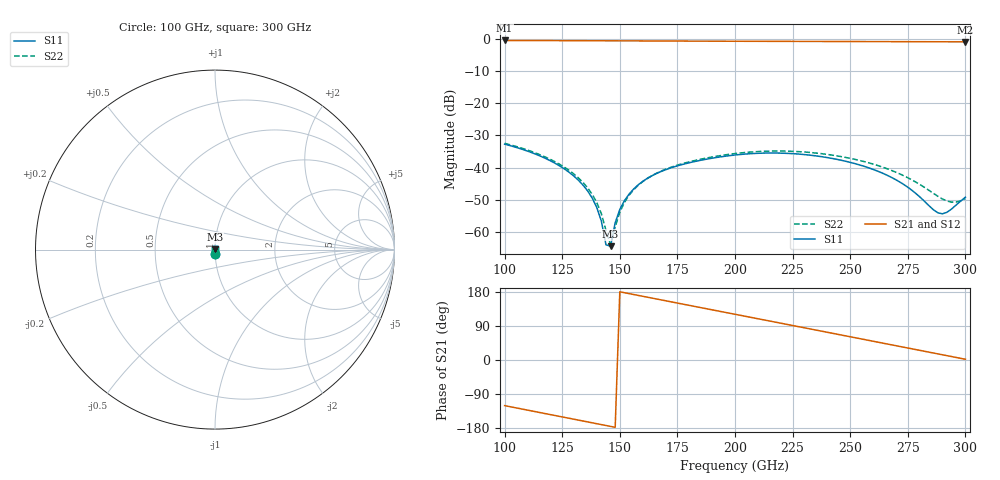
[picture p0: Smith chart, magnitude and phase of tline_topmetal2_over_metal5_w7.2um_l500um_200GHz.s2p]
#  GHZ S DB R 50
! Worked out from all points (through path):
!   101 points, 100 GHz to 300 GHz, reference 50 ohm
!   highest |S21| = -0.48 dB at 100 GHz (marker M1); lowest = -0.9 dB at 300 GHz (marker M2)
!   group delay of S21, straight-line fit = 3.3 ps
!   lowest |S11| = -64.4 dB at 146 GHz (marker M3), VSWR 1.00, Z = 50 + j0.0592 ohm
!   |S11| at or under -10 dB: start of sweep to end of sweep
!   |S22| runs from -64.0 to -32.5 dB; largest |S21 - S12| = 1.1e-14
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100  -32.72 -87.9  -0.48 -120.4  -0.48 -120.4  -32.47 -89.3
120  -37.93 -113.0  -0.52 -144.2  -0.52 -144.2  -37.50 -115.1
134  -45.42 -132.5  -0.56 -160.9  -0.56 -160.9  -44.61 -135.8
140  -52.39 -145.2  -0.57 -168.1  -0.57 -168.1  -50.85 -149.7
142  -56.65 -154.0  -0.58 -170.5  -0.58 -170.5  -54.35 -158.6
144  -64.01 179.0  -0.58 -172.9  -0.58 -172.9  -59.56 -178.5
146  -64.44 80.8  -0.59 -175.2  -0.59 -175.2  -63.96 116.5
148  -57.15 52.3  -0.59 -177.6  -0.59 -177.6  -58.42 64.6
150  -53.04 43.3  -0.60 180.0  -0.60 180.0  -53.88 48.7
152  -50.30 38.1  -0.60 177.6  -0.60 177.6  -50.85 40.9
158  -45.37 27.8  -0.62 170.5  -0.62 170.5  -45.51 28.0
168  -41.20 15.1  -0.65 158.6  -0.65 158.6  -41.08 13.9
182  -38.20 0.2  -0.68 142.0  -0.68 142.0  -37.90 -2.1
200  -36.10 -19.5  -0.73 120.7  -0.73 120.7  -35.65 -22.8
218  -35.49 -42.9  -0.76 99.3  -0.76 99.3  -34.86 -46.9
234  -36.27 -65.4  -0.78 80.4  -0.78 80.4  -35.40 -70.1
252  -38.76 -92.3  -0.81 59.0  -0.81 59.0  -37.44 -98.0
268  -43.09 -120.3  -0.84 40.0  -0.84 40.0  -40.91 -126.6
276  -46.63 -139.6  -0.86 30.5  -0.86 30.5  -43.54 -144.8
288  -54.05 153.9  -0.88 16.2  -0.88 16.2  -48.90 170.4
292  -53.91 113.9  -0.89 11.4  -0.89 11.4  -50.41 145.0
300  -49.21 64.9  -0.91 2.0  -0.91 2.0  -49.65 88.3
